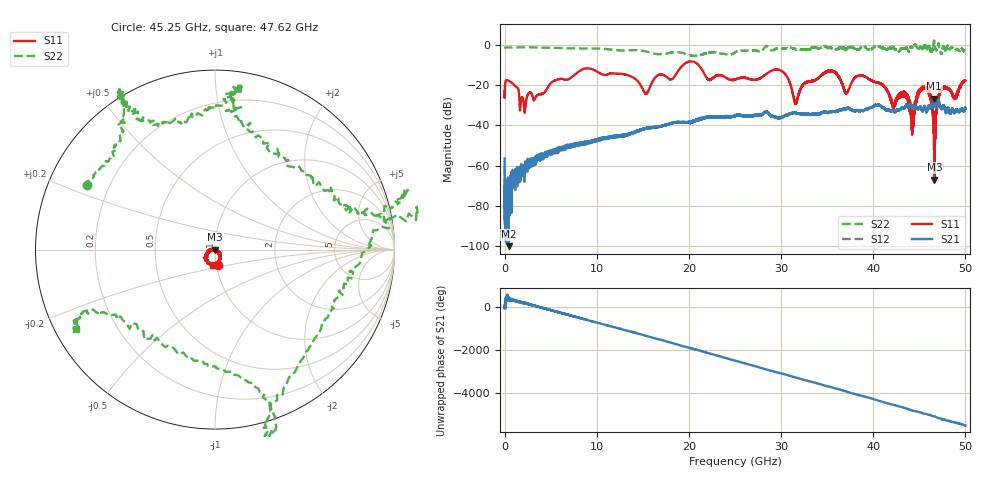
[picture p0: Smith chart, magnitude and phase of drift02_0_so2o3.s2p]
!Created with skrf (http://scikit-rf.org).
# Hz S RI R 50.0
!freq ReS11 ImS11 ReS21 ImS21 ReS12 ImS12 ReS22 ImS22
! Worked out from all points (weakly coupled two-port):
!   10001 points, 300 kHz to 50 GHz, reference 50 ohm
!   highest |S21| = -26.86 dB at 46.6 GHz (marker M1); lowest = -100.0 dB at 455.3 MHz (marker M2)
!   lowest |S11| = -66.9 dB at 46.65 GHz (marker M3), VSWR 1.00, Z = 50 + j0.04 ohm
!   |S11| at or under -10 dB: start of sweep to 19.41 GHz; 21 GHz to end of sweep
!   |S22| runs from -5.7 to 2.0 dB; largest |S21 - S12| = 0.0036
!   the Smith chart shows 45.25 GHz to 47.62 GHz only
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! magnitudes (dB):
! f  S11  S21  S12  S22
! 300 kHz  -23.1  -56.5  -60.3  -2.1
! 455.3 MHz  -18.0  -100.0  -87.3  -1.5
! 2.185 GHz  -33.7  -63.4  -62.2  -1.3
! 8.335 GHz  -12.5  -48.9  -49.0  -1.9
! 15.34 GHz  -24.4  -41.7  -41.5  -3.4
! 16.67 GHz  -15.1  -40.8  -40.8  -4.8
! 20.29 GHz  -8.3  -38.0  -38.8  -5.5
! 25 GHz  -17.3  -35.3  -35.6  -4.0
! 29.84 GHz  -12.6  -36.5  -36.5  -2.1
! 31.6 GHz  -29.0  -33.9  -34.0  -2.5
! 33.34 GHz  -17.9  -34.4  -34.5  -1.5
! 35.6 GHz  -13.1  -33.3  -33.2  -1.7
! 37.1 GHz  -24.2  -31.7  -31.8  -2.2
! 38.75 GHz  -15.3  -32.6  -32.9  -1.1
! 41.67 GHz  -24.3  -32.4  -32.4  -1.9
! 43.47 GHz  -25.2  -31.0  -30.8  -1.8
! 44.25 GHz  -43.2  -31.4  -31.0  -1.5
! 45.7 GHz  -21.7  -32.2  -32.1  -0.8
! 46.6 GHz  -42.8  -26.9  -26.8  1.6
! 46.65 GHz  -66.9  -27.8  -27.6  1.0
! 47.47 GHz  -21.6  -31.9  -31.4  -3.6
! 50 GHz  -17.8  -31.8  -31.7  -2.5
